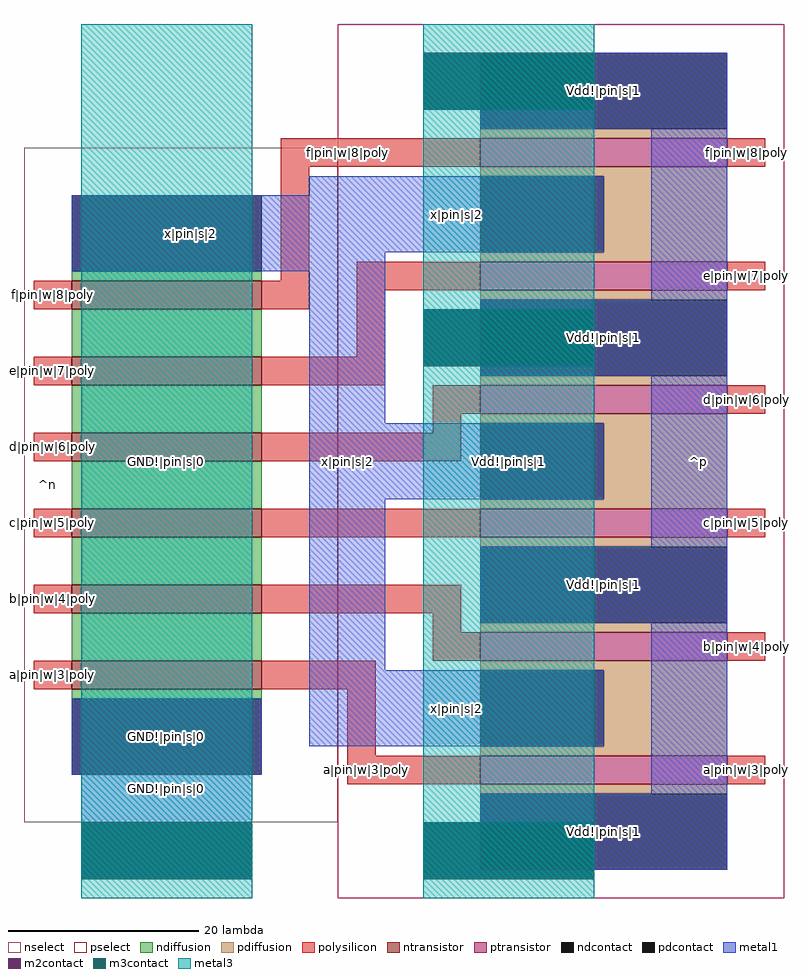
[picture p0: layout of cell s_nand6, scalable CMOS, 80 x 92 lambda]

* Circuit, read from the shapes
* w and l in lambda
.subckt s_nand6 GND!|pin|s|0 Vdd!|pin|s|1 a|pin|w|3|poly b|pin|w|4|poly c|pin|w|5|poly d|pin|w|6|poly e|pin|w|7|poly f|pin|w|8|poly x|pin|s|2
M1 n1 a|pin|w|3|poly GND!|pin|s|0 VSUBS nfet w=20 l=3
M2 n2 b|pin|w|4|poly n1 VSUBS nfet w=20 l=3
M3 n3 c|pin|w|5|poly n2 VSUBS nfet w=20 l=3
M4 n4 d|pin|w|6|poly n3 VSUBS nfet w=20 l=3
M5 n5 e|pin|w|7|poly n4 VSUBS nfet w=20 l=3
M6 x|pin|s|2 f|pin|w|8|poly n5 VSUBS nfet w=20 l=3
M7 x|pin|s|2 a|pin|w|3|poly Vdd!|pin|s|1 NWELL pfet w=26 l=3
M8 Vdd!|pin|s|1 b|pin|w|4|poly x|pin|s|2 NWELL pfet w=26 l=3
M9 x|pin|s|2 c|pin|w|5|poly Vdd!|pin|s|1 NWELL pfet w=26 l=3
M10 Vdd!|pin|s|1 d|pin|w|6|poly x|pin|s|2 NWELL pfet w=26 l=3
M11 x|pin|s|2 e|pin|w|7|poly Vdd!|pin|s|1 NWELL pfet w=26 l=3
M12 Vdd!|pin|s|1 f|pin|w|8|poly x|pin|s|2 NWELL pfet w=26 l=3
.ends

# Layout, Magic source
magic
tech scmos
<< nselect >>
rect -33 29 0 100
<< pselect >>
rect 0 21 47 113
<< ndiffusion >>
rect -28 86 -8 87
rect -28 78 -8 83
rect -28 70 -8 75
rect -28 62 -8 67
rect -28 54 -8 59
rect -28 46 -8 51
rect -28 42 -8 43
<< pdiffusion >>
rect 15 101 41 102
rect 15 97 41 98
rect 28 89 41 97
rect 15 88 41 89
rect 15 84 41 85
rect 15 75 41 76
rect 15 71 41 72
rect 28 63 41 71
rect 15 62 41 63
rect 15 58 41 59
rect 15 49 41 50
rect 15 45 41 46
rect 28 37 41 45
rect 15 36 41 37
rect 15 32 41 33
<< ntransistor >>
rect -28 83 -8 86
rect -28 75 -8 78
rect -28 67 -8 70
rect -28 59 -8 62
rect -28 51 -8 54
rect -28 43 -8 46
<< ptransistor >>
rect 15 98 41 101
rect 15 85 41 88
rect 15 72 41 75
rect 15 59 41 62
rect 15 46 41 49
rect 15 33 41 36
<< polysilicon >>
rect -6 98 15 101
rect 41 98 45 101
rect -6 86 -3 98
rect -32 83 -28 86
rect -8 83 -3 86
rect 2 85 15 88
rect 41 85 45 88
rect 2 78 5 85
rect -32 75 -28 78
rect -8 75 5 78
rect 10 72 15 75
rect 41 72 45 75
rect 10 70 13 72
rect -32 67 -28 70
rect -8 67 13 70
rect -32 59 -28 62
rect -8 59 15 62
rect 41 59 45 62
rect -32 51 -28 54
rect -8 51 13 54
rect 10 49 13 51
rect 10 46 15 49
rect 41 46 45 49
rect -32 43 -28 46
rect -8 43 4 46
rect 1 36 4 43
rect 1 33 15 36
rect 41 33 45 36
<< ndcontact >>
rect -28 87 -8 95
rect -28 34 -8 42
<< pdcontact >>
rect 15 102 41 110
rect 15 89 28 97
rect 15 76 41 84
rect 15 63 28 71
rect 15 50 41 58
rect 15 37 28 45
rect 15 24 41 32
<< metal1 >>
rect 27 104 41 110
rect 15 102 41 104
rect -3 95 28 97
rect -28 89 28 95
rect -28 87 5 89
rect -3 71 5 87
rect 33 84 41 102
rect 15 83 41 84
rect 27 77 41 83
rect 15 76 41 77
rect -3 63 28 71
rect -3 45 5 63
rect 33 58 41 76
rect 15 50 41 58
rect -28 34 -8 42
rect -3 37 28 45
rect -27 29 -9 34
rect 33 32 41 50
rect 15 29 41 32
rect 27 24 41 29
<< m2contact >>
rect 9 104 27 110
rect 9 77 27 83
rect -27 23 -9 29
rect 9 23 27 29
<< m3contact >>
rect 9 104 27 110
rect 9 77 27 83
rect -27 23 -9 29
rect 9 23 27 29
<< metal3 >>
rect -27 21 -9 113
rect 9 21 27 113
<< labels >>
rlabel space -33 28 -28 101 7 ^n
rlabel space 28 21 48 113 3 ^p
rlabel metal3 -27 21 -9 113 1 GND!|pin|s|0
rlabel metal1 -28 34 -8 42 1 GND!|pin|s|0
rlabel metal1 -27 23 -9 42 1 GND!|pin|s|0
rlabel metal3 9 21 27 113 1 Vdd!|pin|s|1
rlabel metal1 15 102 41 110 1 Vdd!|pin|s|1
rlabel metal1 15 76 41 84 1 Vdd!|pin|s|1
rlabel metal1 15 50 41 58 1 Vdd!|pin|s|1
rlabel metal1 15 24 41 32 1 Vdd!|pin|s|1
rlabel metal1 33 24 41 110 1 Vdd!|pin|s|1
rlabel metal1 -3 37 5 97 1 x|pin|s|2
rlabel metal1 -28 87 -3 95 1 x|pin|s|2
rlabel metal1 -3 89 28 97 1 x|pin|s|2
rlabel metal1 -3 63 28 71 1 x|pin|s|2
rlabel metal1 -3 37 28 45 1 x|pin|s|2
rlabel polysilicon 41 33 45 36 1 a|pin|w|3|poly
rlabel polysilicon 1 33 5 36 1 a|pin|w|3|poly
rlabel polysilicon -32 43 -28 46 1 a|pin|w|3|poly
rlabel polysilicon -32 51 -28 54 1 b|pin|w|4|poly
rlabel polysilicon 41 46 45 49 1 b|pin|w|4|poly
rlabel polysilicon 41 59 45 62 1 c|pin|w|5|poly
rlabel polysilicon -32 59 -28 62 1 c|pin|w|5|poly
rlabel polysilicon -32 67 -28 70 1 d|pin|w|6|poly
rlabel polysilicon 41 72 45 75 1 d|pin|w|6|poly
rlabel polysilicon 41 85 45 88 1 e|pin|w|7|poly
rlabel polysilicon -32 75 -28 78 1 e|pin|w|7|poly
rlabel polysilicon -32 83 -28 86 1 f|pin|w|8|poly
rlabel polysilicon -1 98 3 101 1 f|pin|w|8|poly
rlabel polysilicon 41 98 45 101 1 f|pin|w|8|poly
<< end >>
